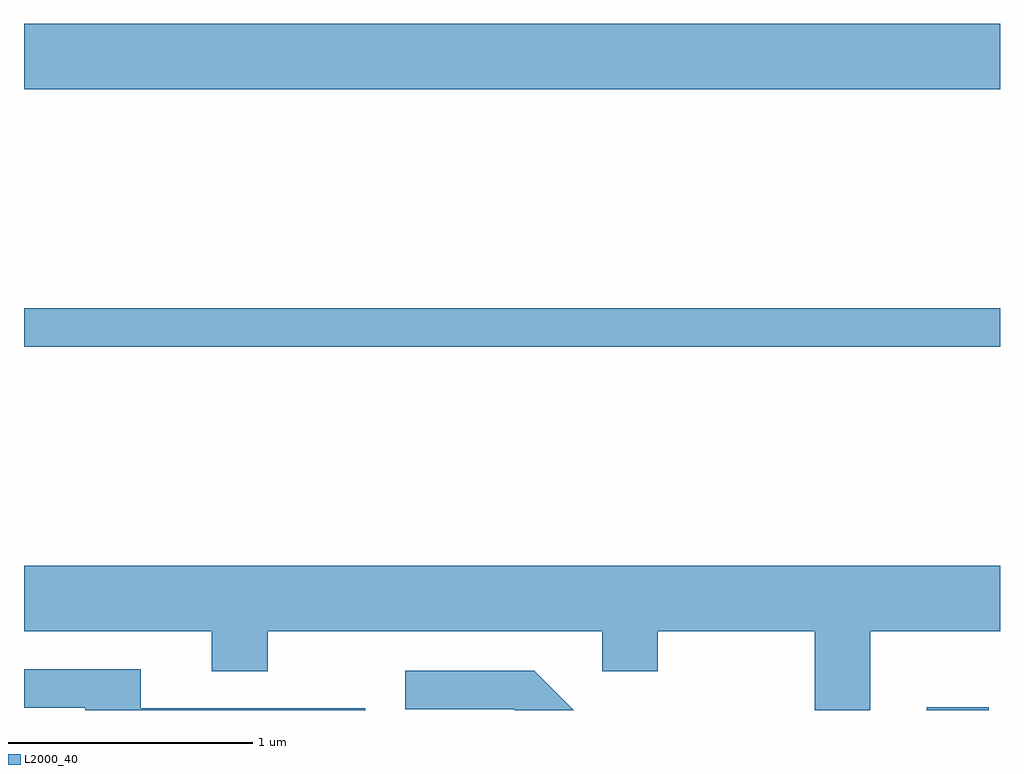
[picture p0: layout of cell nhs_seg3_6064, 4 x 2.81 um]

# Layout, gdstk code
import gdstk
lib = gdstk.Library(unit=1e-6, precision=1e-09)
def R(c, l, rs):  # rectangles x0, y0, x1, y1
    for r in rs: c.add(gdstk.rectangle(r[:2], r[2:], *l))
def P(c, l, *ps):  # polygons
    for p in ps: c.add(gdstk.Polygon(p, *l))
L2000_40 = (2000, 40)

nhs_seg3_6064 = lib.new_cell('nhs_seg3_6064')
R(nhs_seg3_6064, L2000_40, [(367.311,1147.892,367.564,1147.904), (363.611,1149.381,367.611,1149.539), (363.611,1150.436,367.611,1150.704)])
P(nhs_seg3_6064, L2000_40, [(367.079,1148.216),(367.611,1148.216),(367.611,1148.484),(363.611,1148.484),(363.611,1148.216),(364.381,1148.216),(364.381,1148.051),(364.609,1148.051),(364.609,1148.216),(365.981,1148.216),(365.981,1148.051),(366.209,1148.051),(366.209,1148.216),(366.851,1148.216),(366.851,1147.892),(367.079,1147.892)],
  [(365.009,1147.899),(364.089,1147.899),(364.089,1148.059),(363.611,1148.059),(363.611,1147.901),(363.861,1147.901),(363.861,1147.892),(365.009,1147.892)],
  [(365.702,1148.054),(365.173,1148.054),(365.173,1147.896),(365.619,1147.896),(365.623,1147.892),(365.864,1147.892)])

lib.write_gds('nhs_seg3_6064.gds')
